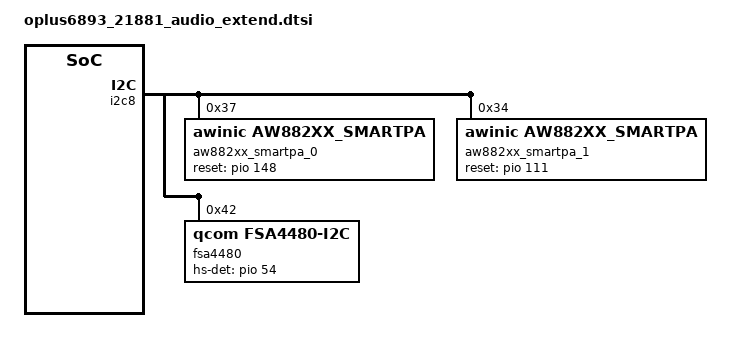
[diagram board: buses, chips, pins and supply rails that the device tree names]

&audio_extend {
	//for nxp speaker
	oplus,speaker-vendor = "awinic_digital";
	oplus,speaker-i2s-id = <3>;
	oplus,speaker-i2s-id-in = <0>;
	oplus,speaker-codec-name = "aw882xx_smartpa.8-0037","aw882xx_smartpa.8-0034";
	oplus,speaker-codec-dai-name = "aw882xx-aif-8-37","aw882xx-aif-8-34";
};

//#ifdef OPLUS_ARCH_EXTENDS
/* 2021/01/04, for TFA9874 stereo VI signal */
&i2c8 {
	aw882xx_smartpa_0: aw882xx_smartpa@37 {
		compatible = "awinic,aw882xx_smartpa";
		#sound-dai-cells = <0>;
		reg = <0x37>;
		reset-gpio = <&pio 148 0>;
		//irq-gpio = <&pio 37 0x0>;
		dc-flag = <0>;
		sync-flag = <0>;
		sound-channel = <0>;
		aw-re-min = <5000>;
		aw-re-max= <8000>;
		/*aw-cali-mode = "none";*/
		status = "okay";
	};

	aw882xx_smartpa_1: aw882xx_smartpa@34 {
		compatible = "awinic,aw882xx_smartpa";
		#sound-dai-cells = <0>;
		reg = <0x34>;
		reset-gpio = <&pio 111 0>;
		//irq-gpio = <&pio 37 0x0>;
		dc-flag = <0>;
		sync-flag = <0>;
		sound-channel = <1>;
		aw-re-min = <5000>;
		aw-re-max= <8000>;
		/*aw-cali-mode = "none";*/
		status = "okay";
	};
};

&sound {
	mtk_spk_i2s_in = <9>;
};
//#endif /*OPLUS_ARCH_EXTENDS*/

//#ifdef OPLUS_ARCH_EXTENDS
/*2021/01/04, add for fsa4480 dts*/
///delete-node/ &fsa4480;

&i2c8 {
	fsa4480: fsa4480@42 {
		compatible = "qcom,fsa4480-i2c";
		reg = <0x42>;
		pinctrl-names = "default";
		pinctrl-0 = <&fsa_hs_det>;
		fsa4480,hs-det-gpio = <&pio 54 0>;
		fsa4480,hs-det-level = <0>;
	};
};

&pio {
	fsa_hs_det: fsa_hs_det {
		pins_cmd_dat {
			pinmux = <PINMUX_GPIO54__FUNC_GPIO54>;
			slew-rate = <1>;  /*direction 0:in, 1:out*/
			output-high;
		};
	};
};
//#endif /*OPLUS_ARCH_EXTENDS*/

